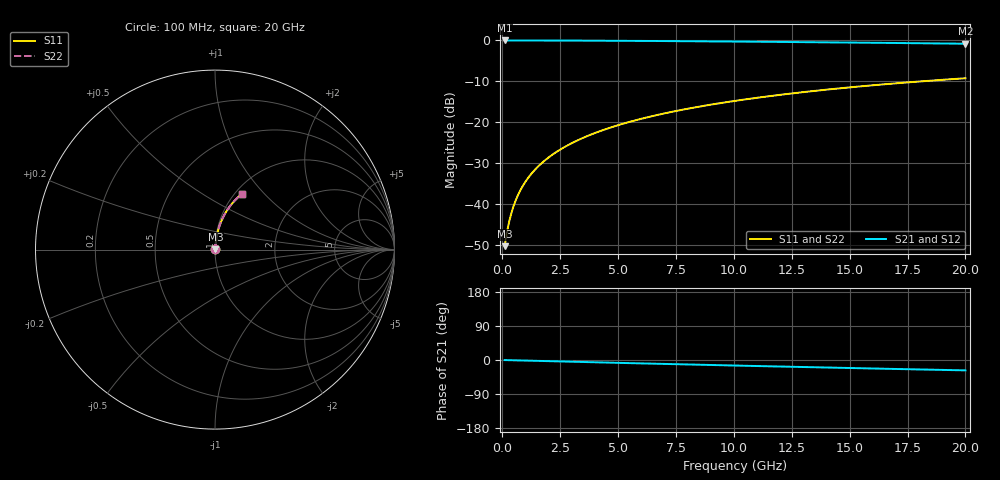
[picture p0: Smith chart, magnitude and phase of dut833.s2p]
! Touchstone file exported from HFSS 2024.1.0
!  File:  C:/UserFiles/LocalFiles/RDL_TSV_Batchsim/temp_RDL_bottom_833_1779863325.aedt
!  Generated:  02:31:35 PM May 27, 2026
!  Design:  RDL_bottom
!  Project:  temp_RDL_bottom_833_1779863325
!  Setup:  Setup1
!  Solution:  Sweep
! Variables:
!  dtsv = 10.80580581um
!  hbump = 3um
!  htsv = 77.64um
!  ldown = 324.03um
!  lrdl = 100um
!  p = 40
!  p1 = 47.31um
!  rhole = 1um
!  t = 450um
!  tdown = 4.83um
!  trdl = 3.915915916um
!  wdown = 10.06um
!  wrdl = 20um
# GHz S MA R 50.000000
! Terminal data exported
! Port[1] = RDL1_T1
! Port[2] = RDL1_T2
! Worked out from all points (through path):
!   200 points, 100 MHz to 20 GHz, reference 50 ohm
!   highest |S21| = -0.02 dB at 100 MHz (marker M1); lowest = -0.8 dB at 20 GHz (marker M2)
!   group delay of S21, straight-line fit = 3.79 ps
!   lowest |S11| = -50.2 dB at 100 MHz (marker M3), VSWR 1.01, Z = 50.2 + j0.191 ohm
!   |S11| at or under -10 dB: start of sweep to 18.08 GHz
!   |S22| runs from -50.2 to -9.2 dB; largest |S21 - S12| = 2.5e-15
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0.1  0.003087 38.1  0.9976 -0.2  0.9976 -0.2  0.003087 38.1
! Gamma 0 0 0 0
! Port Impedance 50 0 50 0
0.2  0.004528 56.9  0.9975 -0.3  0.9975 -0.3  0.004528 56.9
0.3  0.006205 66.0  0.9975 -0.5  0.9975 -0.5  0.006205 66.0
0.4  0.007961 71.0  0.9974 -0.6  0.9974 -0.6  0.007961 71.0
0.5  0.00975 74.2  0.9974 -0.8  0.9974 -0.8  0.00975 74.2
0.6  0.01156 76.4  0.9973 -0.9  0.9973 -0.9  0.01156 76.4
0.8  0.0152 79.1  0.9971 -1.2  0.9971 -1.2  0.0152 79.1
1.1  0.02071 81.3  0.9969 -1.7  0.9969 -1.7  0.02071 81.3
1.5  0.02808 82.6  0.9964 -2.3  0.9964 -2.3  0.02808 82.6
1.8  0.03362 83.1  0.996 -2.8  0.996 -2.8  0.03362 83.1
2.1  0.03916 83.3  0.9956 -3.2  0.9956 -3.2  0.03916 83.3
2.7  0.05022 83.3  0.9945 -4.1  0.9945 -4.1  0.05022 83.3
3.5  0.06492 82.9  0.9927 -5.3  0.9927 -5.3  0.06492 82.9
4.2  0.07774 82.4  0.9908 -6.3  0.9908 -6.3  0.07774 82.4
5  0.09233 81.7  0.9883 -7.5  0.9883 -7.5  0.09233 81.7
5.9  0.1087 80.8  0.9852 -8.8  0.9852 -8.8  0.1087 80.8
6.8  0.1249 79.8  0.9818 -10.1  0.9818 -10.1  0.1249 79.9
8.3  0.1518 78.2  0.9755 -12.2  0.9755 -12.2  0.1518 78.2
10.1  0.1837 76.1  0.9671 -14.7  0.9671 -14.7  0.1837 76.1
13.4  0.2405 72.1  0.9499 -19.1  0.9499 -19.1  0.2406 72.1
16.7  0.2946 68.1  0.9308 -23.3  0.9308 -23.3  0.2946 68.1
20  0.3452 64.1  0.9102 -27.4  0.9102 -27.4  0.3452 64.1
